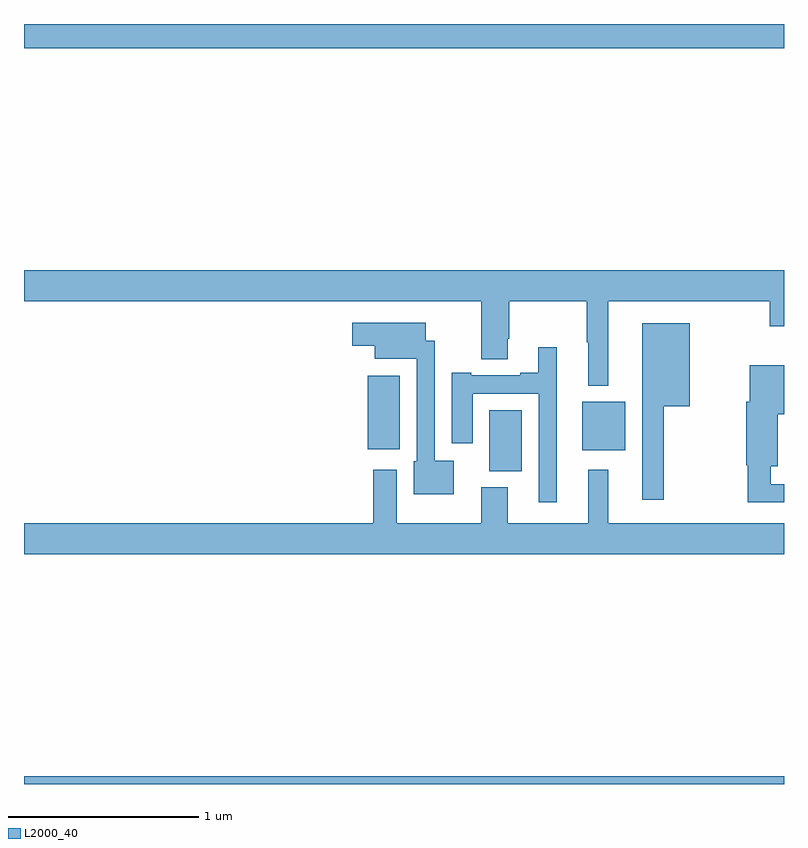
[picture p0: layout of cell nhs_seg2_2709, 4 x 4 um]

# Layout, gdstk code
import gdstk
lib = gdstk.Library(unit=1e-6, precision=1e-09)
def R(c, l, rs):  # rectangles x0, y0, x1, y1
    for r in rs: c.add(gdstk.rectangle(r[:2], r[2:], *l))
def P(c, l, *ps):  # polygons
    for p in ps: c.add(gdstk.Polygon(p, *l))
L2000_40 = (2000, 40)

nhs_seg2_2709 = lib.new_cell('nhs_seg2_2709')
R(nhs_seg2_2709, L2000_40, [(253,607.8,257,607.84), (255.449,609.446,255.619,609.766), (255.938,609.557,256.165,609.811), (254.81,609.563,254.977,609.949), (253,611.672,257,611.8)])
P(nhs_seg2_2709, L2000_40, [(256.075,610.34),(256.924,610.34),(256.924,610.209),(257,610.209),(257,610.504),(253,610.504),(253,610.34),(255.407,610.34),(255.407,610.036),(255.547,610.036),(255.547,610.144),(255.555,610.144),(255.555,610.34),(255.961,610.34),(255.961,610.124),(255.971,610.124),(255.971,609.896),(256.075,609.896)],
  [(255.262,609.502),(255.162,609.502),(255.162,610.134),(255.115,610.134),(255.115,610.228),(254.727,610.228),(254.727,610.106),(254.846,610.106),(254.846,610.037),(255.066,610.037),(255.066,609.498),(255.05,609.498),(255.05,609.326),(255.262,609.326)],
  [(256.367,609.788),(256.504,609.788),(256.504,610.225),(256.253,610.225),(256.253,609.297),(256.367,609.297)],
  [(255.805,610.099),(255.707,610.099),(255.707,609.964),(255.611,609.964),(255.611,609.951),(255.355,609.951),(255.355,609.964),(255.251,609.964),(255.251,609.594),(255.361,609.594),(255.361,609.855),(255.708,609.855),(255.708,609.282),(255.805,609.282)],
  [(257,609.378),(256.93,609.378),(256.93,609.473),(256.966,609.473),(256.966,609.746),(257,609.746),(257,610.003),(256.82,610.003),(256.82,609.813),(256.801,609.813),(256.801,609.477),(256.809,609.477),(256.809,609.282),(257,609.282)],
  [(257,609.172),(256.075,609.172),(256.075,609.454),(255.971,609.454),(255.971,609.172),(255.547,609.172),(255.547,609.361),(255.407,609.361),(255.407,609.172),(254.962,609.172),(254.962,609.454),(254.837,609.454),(254.837,609.172),(253,609.172),(253,609.008),(257,609.008)])

lib.write_gds('nhs_seg2_2709.gds')
